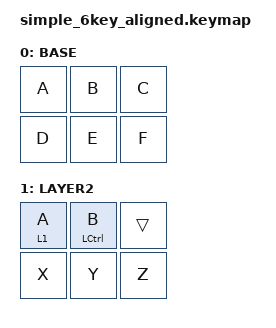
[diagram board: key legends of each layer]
/ {
    keymap {
        compatible = "zmk,keymap";
        BASE {
            bindings = <
   &kp A    &kp B         &kp C
   &kp D    &kp E         &kp F
            >;
        };
        LAYER2 {
            bindings = <
   &lt 1 A  &hml LCTRL B  &trans
   &kp X    &kp Y         &kp Z
            >;
        };
    };
};
